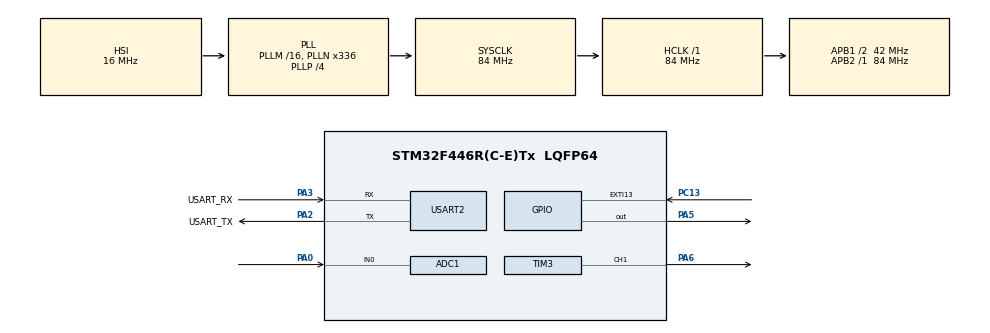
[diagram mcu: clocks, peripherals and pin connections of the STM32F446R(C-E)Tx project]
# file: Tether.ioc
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ADC1.Channel-0\#ChannelRegularConversion=ADC_CHANNEL_0
ADC1.DMAContinuousRequests=ENABLE
ADC1.ExternalTrigConv=ADC_EXTERNALTRIGCONV_T2_TRGO
ADC1.NbrOfConversionFlag=1
ADC1.Rank-0\#ChannelRegularConversion=1
ADC1.SamplingTime-0\#ChannelRegularConversion=ADC_SAMPLETIME_84CYCLES
ADC1.master=1
Dma.ADC1.0.Direction=DMA_PERIPH_TO_MEMORY
Dma.ADC1.0.FIFOMode=DMA_FIFOMODE_DISABLE
Dma.ADC1.0.Instance=DMA2_Stream0
Dma.ADC1.0.MemDataAlignment=DMA_MDATAALIGN_HALFWORD
Dma.ADC1.0.MemInc=DMA_MINC_ENABLE
Dma.ADC1.0.Mode=DMA_CIRCULAR
Dma.ADC1.0.PeriphDataAlignment=DMA_PDATAALIGN_HALFWORD
Dma.ADC1.0.PeriphInc=DMA_PINC_DISABLE
Dma.ADC1.0.Priority=DMA_PRIORITY_LOW
Dma.Request0=ADC1
Mcu.Family=STM32F4
Mcu.Name=STM32F446R(C-E)Tx
Mcu.Package=LQFP64
NUCLEO-F446RE.BUTTON=1
NUCLEO-F446RE.Bsp_Common_DEMO=true
NUCLEO-F446RE.LD1=true
NVIC.ADC_IRQn=true\:0\:0\:false\:false\:true\:true\:true\:true
NVIC.DMA2_Stream0_IRQn=true\:0\:0\:false\:false\:true\:false\:true\:true
NVIC.EXTI15_10_IRQn=true\:0\:0\:false\:false\:true\:false\:true\:true
NVIC.PriorityGroup=NVIC_PRIORITYGROUP_0
PA0-WKUP.Signal=ADCx_IN0
PA13.GPIO_Label=TMS
PA13.Signal=SYS_JTMS-SWDIO
PA14.GPIO_Label=TCK
PA14.Signal=SYS_JTCK-SWCLK
PA2.GPIO_Label=USART_TX
PA2.Mode=Asynchronous
PA2.Signal=USART2_TX
PA3.GPIO_Label=USART_RX
PA3.Mode=Asynchronous
PA3.Signal=USART2_RX
PA5.Signal=GPIO_Output
PA6.Signal=S_TIM3_CH1
PB3.GPIO_Label=SWO
PB3.Signal=SYS_JTDO-SWO
PC13.Signal=GPXTI13
PC14-OSC32_IN.Signal=RCC_OSC32_IN
PC15-OSC32_OUT.Signal=RCC_OSC32_OUT
PH0-OSC_IN.Signal=RCC_OSC_IN
PH1-OSC_OUT.Signal=RCC_OSC_OUT
ProjectManager.HeapSize=0x200
ProjectManager.StackSize=0x400
ProjectManager.TargetToolchain=CMake
RCC.AHBFreq_Value=84000000
RCC.APB1CLKDivider=RCC_HCLK_DIV2
RCC.APB1Freq_Value=42000000
RCC.APB1TimFreq_Value=84000000
RCC.APB2Freq_Value=84000000
RCC.APB2TimFreq_Value=84000000
RCC.CortexFreq_Value=84000000
RCC.FLatency-AdvancedSettings=FLASH_LATENCY_2
RCC.HCLKFreq_Value=84000000
RCC.HSE_VALUE=8000000
RCC.HSI_VALUE=16000000
RCC.LSE_VALUE=32768
RCC.PLLN=336
RCC.PLLP=RCC_PLLP_DIV4
RCC.SYSCLKFreq_VALUE=84000000
RCC.SYSCLKSource=RCC_SYSCLKSOURCE_PLLCLK
RCC.USBFreq_Value=168000000
RCC.VCOOutputFreq_Value=336000000
SH.ADCx_IN0.0=ADC1_IN0,IN0
SH.S_TIM3_CH1.0=TIM3_CH1,PWM Generation1 CH1
TIM2.Period=999
TIM2.Prescaler=83
TIM2.TIM_MasterOutputTrigger=TIM_TRGO_UPDATE
TIM3.AutoReloadPreload=TIM_AUTORELOAD_PRELOAD_ENABLE
TIM3.Channel-PWM\ Generation1\ CH1=TIM_CHANNEL_1
TIM3.Period=19999
TIM3.Prescaler=83
TIM3.Pulse-PWM\ Generation1\ CH1=1500
USART2.VirtualMode=VM_ASYNC
VP_NUCLEO-F446RE_VS_BSP_COMMON.Mode=COMMON
VP_TIM2_VS_ClockSourceINT.Mode=Internal
VP_TIM3_VS_ClockSourceINT.Mode=Internal
board=NUCLEO-F446RE

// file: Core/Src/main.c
/* USER CODE BEGIN Header */
/**
  ******************************************************************************
  * @file           : main.c
  * @brief          : Main program body
  ******************************************************************************
  * @attention
  *
  * Copyright (c) 2026 STMicroelectronics.
  * All rights reserved.
  *
  * This software is licensed under terms that can be found in the LICENSE file
  * in the root directory of this software component.
  * If no LICENSE file comes with this software, it is provided AS-IS.
  *
  ******************************************************************************
  */
/* USER CODE END Header */
#include "main.h"

/* USER CODE BEGIN Includes */
#include <stdio.h>

/* USER CODE END Includes */

/* Button state */
#define BUTTON_RELEASED                    0U
#define BUTTON_PRESSED                     1U
/* USER CODE BEGIN PM */
#define SERVO_MIN_US 500U
#define SERVO_MAX_US 2400U

/* USER CODE END PM */

__IO uint32_t BspButtonState = BUTTON_RELEASED;
ADC_HandleTypeDef hadc1;
DMA_HandleTypeDef hdma_adc1;

TIM_HandleTypeDef htim2;
TIM_HandleTypeDef htim3;

UART_HandleTypeDef huart2;

/* USER CODE BEGIN PV */
__IO uint16_t ADC1ConvertedValue = 0;
__IO uint16_t adc_buf[20];
/* USER CODE END PV */

void SystemClock_Config(void);
static void MX_GPIO_Init(void);
static void MX_DMA_Init(void);
static void MX_USART2_UART_Init(void);
static void MX_ADC1_Init(void);
static void MX_TIM3_Init(void);
static void MX_TIM2_Init(void);
/* USER CODE BEGIN PFP */
static void servo_set_angle(uint8_t angle);
static void servo_set_from_adc(uint16_t adc_converted_value);
static uint8_t adc_to_angle(uint16_t adc_converted_value);
/* USER CODE END PFP */

/* USER CODE BEGIN 0 */
static void servo_set_angle(uint8_t angle)
{
  if (angle > 180) angle = 180;
  uint32_t pulse = SERVO_MIN_US + ((uint32_t)angle * (SERVO_MAX_US - SERVO_MIN_US)) / 180U;
  __HAL_TIM_SET_COMPARE(&htim3, TIM_CHANNEL_1, pulse);
}

static void servo_set_from_adc(uint16_t adc_converted_value) {
  if (adc_converted_value > 4095) adc_converted_value = 4095;
  uint32_t pulse = SERVO_MIN_US + (adc_converted_value * (SERVO_MAX_US - SERVO_MIN_US)) / 4095U;
  __HAL_TIM_SET_COMPARE(&htim3, TIM_CHANNEL_1, pulse);
}

static uint8_t adc_to_angle(uint16_t adc_converted_value) {
  if (adc_converted_value > 4095) adc_converted_value = 4095;
  uint8_t angle = (adc_converted_value * 180) / 4095;
  return angle;
}

/* USER CODE END 0 */

int main(void)
{

  /* MCU Configuration--------------------------------------------------------*/

  /* Reset of all peripherals, Initializes the Flash interface and the Systick. */
  HAL_Init();

  /* Configure the system clock */
  SystemClock_Config();

  /* Initialize all configured peripherals */
  MX_GPIO_Init();
  MX_DMA_Init();
  MX_USART2_UART_Init();
  MX_ADC1_Init();
  MX_TIM3_Init();
  MX_TIM2_Init();
  /* USER CODE BEGIN 2 */

  // Start PWM
  if (HAL_TIM_PWM_Start(&htim3, TIM_CHANNEL_1) != HAL_OK)
  {
    Error_Handler();
  }

  // Start ADC in DMA mode
  if (HAL_ADC_Start_DMA(&hadc1, (uint32_t *) adc_buf, 20) != HAL_OK)
  {
    Error_Handler();
  }

  // Start TIM2
  if (HAL_TIM_Base_Start(&htim2) != HAL_OK)
  {
    Error_Handler();
  }
  /* USER CODE END 2 */

  /* Initialize leds */
  BSP_LED_Init(LED2);

  /* Initialize USER push-button, will be used to trigger an interrupt each time it's pressed.*/
  BSP_PB_Init(BUTTON_USER, BUTTON_MODE_EXTI);

  /* Infinite loop */
  while (1)
  {

    /* USER CODE BEGIN 3 */

    // Average the buffer samples
    uint32_t sum = 0;
    for (int i=0; i<20; i++) {
      sum += adc_buf[i];
    }
    ADC1ConvertedValue = sum / 20;
    // The print loop operates independently on a 1 second delay.
    static uint32_t last_print = 0;
    uint32_t now = HAL_GetTick();
    uint8_t angle = adc_to_angle(ADC1ConvertedValue);
    if (now - last_print >= 1000)
    {
      last_print = now;
      char msg[16];
      int len = snprintf(msg, sizeof(msg), "POS:%u\n",
                         angle);
      HAL_UART_Transmit(&huart2, (uint8_t *)msg, len, HAL_MAX_DELAY);
    }

    servo_set_from_adc(ADC1ConvertedValue);
  }
  /* USER CODE END 3 */
}

void SystemClock_Config(void)
{
  RCC_OscInitTypeDef RCC_OscInitStruct = {0};
  RCC_ClkInitTypeDef RCC_ClkInitStruct = {0};

  /** Configure the main internal regulator output voltage
  */
  __HAL_RCC_PWR_CLK_ENABLE();
  __HAL_PWR_VOLTAGESCALING_CONFIG(PWR_REGULATOR_VOLTAGE_SCALE3);

  /** Initializes the RCC Oscillators according to the specified parameters
  * in the RCC_OscInitTypeDef structure.
  */
  RCC_OscInitStruct.OscillatorType = RCC_OSCILLATORTYPE_HSI;
  RCC_OscInitStruct.HSIState = RCC_HSI_ON;
  RCC_OscInitStruct.HSICalibrationValue = RCC_HSICALIBRATION_DEFAULT;
  RCC_OscInitStruct.PLL.PLLState = RCC_PLL_ON;
  RCC_OscInitStruct.PLL.PLLSource = RCC_PLLSOURCE_HSI;
  RCC_OscInitStruct.PLL.PLLM = 16;
  RCC_OscInitStruct.PLL.PLLN = 336;
  RCC_OscInitStruct.PLL.PLLP = RCC_PLLP_DIV4;
  RCC_OscInitStruct.PLL.PLLQ = 2;
  RCC_OscInitStruct.PLL.PLLR = 2;
  if (HAL_RCC_OscConfig(&RCC_OscInitStruct) != HAL_OK)
  {
    Error_Handler();
  }

  /** Initializes the CPU, AHB and APB buses clocks
  */
  RCC_ClkInitStruct.ClockType = RCC_CLOCKTYPE_HCLK|RCC_CLOCKTYPE_SYSCLK
                              |RCC_CLOCKTYPE_PCLK1|RCC_CLOCKTYPE_PCLK2;
  RCC_ClkInitStruct.SYSCLKSource = RCC_SYSCLKSOURCE_PLLCLK;
  RCC_ClkInitStruct.AHBCLKDivider = RCC_SYSCLK_DIV1;
  RCC_ClkInitStruct.APB1CLKDivider = RCC_HCLK_DIV2;
  RCC_ClkInitStruct.APB2CLKDivider = RCC_HCLK_DIV1;

  if (HAL_RCC_ClockConfig(&RCC_ClkInitStruct, FLASH_LATENCY_2) != HAL_OK)
  {
    Error_Handler();
  }
}

static void MX_ADC1_Init(void)
{

  ADC_ChannelConfTypeDef sConfig = {0};

  /** Configure the global features of the ADC (Clock, Resolution, Data Alignment and number of conversion)
  */
  hadc1.Instance = ADC1;
  hadc1.Init.ClockPrescaler = ADC_CLOCK_SYNC_PCLK_DIV4;
  hadc1.Init.Resolution = ADC_RESOLUTION_12B;
  hadc1.Init.ScanConvMode = DISABLE;
  hadc1.Init.ContinuousConvMode = DISABLE;
  hadc1.Init.DiscontinuousConvMode = DISABLE;
  hadc1.Init.ExternalTrigConvEdge = ADC_EXTERNALTRIGCONVEDGE_RISING;
  hadc1.Init.ExternalTrigConv = ADC_EXTERNALTRIGCONV_T2_TRGO;
  hadc1.Init.DataAlign = ADC_DATAALIGN_RIGHT;
  hadc1.Init.NbrOfConversion = 1;
  hadc1.Init.DMAContinuousRequests = ENABLE;
  hadc1.Init.EOCSelection = ADC_EOC_SINGLE_CONV;
  if (HAL_ADC_Init(&hadc1) != HAL_OK)
  {
    Error_Handler();
  }

  /** Configure for the selected ADC regular channel its corresponding rank in the sequencer and its sample time.
  */
  sConfig.Channel = ADC_CHANNEL_0;
  sConfig.Rank = 1;
  sConfig.SamplingTime = ADC_SAMPLETIME_84CYCLES;
  if (HAL_ADC_ConfigChannel(&hadc1, &sConfig) != HAL_OK)
  {
    Error_Handler();
  }

}

static void MX_TIM2_Init(void)
{

  TIM_ClockConfigTypeDef sClockSourceConfig = {0};
  TIM_MasterConfigTypeDef sMasterConfig = {0};

  htim2.Instance = TIM2;
  htim2.Init.Prescaler = 83;
  htim2.Init.CounterMode = TIM_COUNTERMODE_UP;
  htim2.Init.Period = 999;
  htim2.Init.ClockDivision = TIM_CLOCKDIVISION_DIV1;
  htim2.Init.AutoReloadPreload = TIM_AUTORELOAD_PRELOAD_DISABLE;
  if (HAL_TIM_Base_Init(&htim2) != HAL_OK)
  {
    Error_Handler();
  }
  sClockSourceConfig.ClockSource = TIM_CLOCKSOURCE_INTERNAL;
  if (HAL_TIM_ConfigClockSource(&htim2, &sClockSourceConfig) != HAL_OK)
  {
    Error_Handler();
  }
  sMasterConfig.MasterOutputTrigger = TIM_TRGO_UPDATE;
  sMasterConfig.MasterSlaveMode = TIM_MASTERSLAVEMODE_DISABLE;
  if (HAL_TIMEx_MasterConfigSynchronization(&htim2, &sMasterConfig) != HAL_OK)
  {
    Error_Handler();
  }

}

static void MX_TIM3_Init(void)
{

  TIM_ClockConfigTypeDef sClockSourceConfig = {0};
  TIM_MasterConfigTypeDef sMasterConfig = {0};
  TIM_OC_InitTypeDef sConfigOC = {0};

  htim3.Instance = TIM3;
  htim3.Init.Prescaler = 83;
  htim3.Init.CounterMode = TIM_COUNTERMODE_UP;
  htim3.Init.Period = 19999;
  htim3.Init.ClockDivision = TIM_CLOCKDIVISION_DIV1;
  htim3.Init.AutoReloadPreload = TIM_AUTORELOAD_PRELOAD_ENABLE;
  if (HAL_TIM_Base_Init(&htim3) != HAL_OK)
  {
    Error_Handler();
  }
  sClockSourceConfig.ClockSource = TIM_CLOCKSOURCE_INTERNAL;
  if (HAL_TIM_ConfigClockSource(&htim3, &sClockSourceConfig) != HAL_OK)
  {
    Error_Handler();
  }
  if (HAL_TIM_PWM_Init(&htim3) != HAL_OK)
  {
    Error_Handler();
  }
  sMasterConfig.MasterOutputTrigger = TIM_TRGO_RESET;
  sMasterConfig.MasterSlaveMode = TIM_MASTERSLAVEMODE_DISABLE;
  if (HAL_TIMEx_MasterConfigSynchronization(&htim3, &sMasterConfig) != HAL_OK)
  {
    Error_Handler();
  }
  sConfigOC.OCMode = TIM_OCMODE_PWM1;
  sConfigOC.Pulse = 1500;
  sConfigOC.OCPolarity = TIM_OCPOLARITY_HIGH;
  sConfigOC.OCFastMode = TIM_OCFAST_DISABLE;
  if (HAL_TIM_PWM_ConfigChannel(&htim3, &sConfigOC, TIM_CHANNEL_1) != HAL_OK)
  {
    Error_Handler();
  }
  HAL_TIM_MspPostInit(&htim3);

}

static void MX_USART2_UART_Init(void)
{

  huart2.Instance = USART2;
  huart2.Init.BaudRate = 115200;
  huart2.Init.WordLength = UART_WORDLENGTH_8B;
  huart2.Init.StopBits = UART_STOPBITS_1;
  huart2.Init.Parity = UART_PARITY_NONE;
  huart2.Init.Mode = UART_MODE_TX_RX;
  huart2.Init.HwFlowCtl = UART_HWCONTROL_NONE;
  huart2.Init.OverSampling = UART_OVERSAMPLING_16;
  if (HAL_UART_Init(&huart2) != HAL_OK)
  {
    Error_Handler();
  }

}

static void MX_DMA_Init(void)
{

  /* DMA controller clock enable */
  __HAL_RCC_DMA2_CLK_ENABLE();

  /* DMA interrupt init */
  /* DMA2_Stream0_IRQn interrupt configuration */
  HAL_NVIC_SetPriority(DMA2_Stream0_IRQn, 0, 0);
  HAL_NVIC_EnableIRQ(DMA2_Stream0_IRQn);

}

static void MX_GPIO_Init(void)
{

  /* GPIO Ports Clock Enable */
  __HAL_RCC_GPIOC_CLK_ENABLE();
  __HAL_RCC_GPIOH_CLK_ENABLE();
  __HAL_RCC_GPIOA_CLK_ENABLE();
  __HAL_RCC_GPIOB_CLK_ENABLE();

}

/**
  * @brief EXTI line detection callbacks
  * @param GPIO_Pin: Specifies the pins connected EXTI line
  * @retval None
  */
void HAL_GPIO_EXTI_Callback(uint16_t GPIO_Pin)
{
  if(GPIO_Pin==USER_BUTTON_PIN)
  {
    BspButtonState = BUTTON_PRESSED;
  }
}

void Error_Handler(void)
{
  __disable_irq();
  while (1)
  {
  }
}
